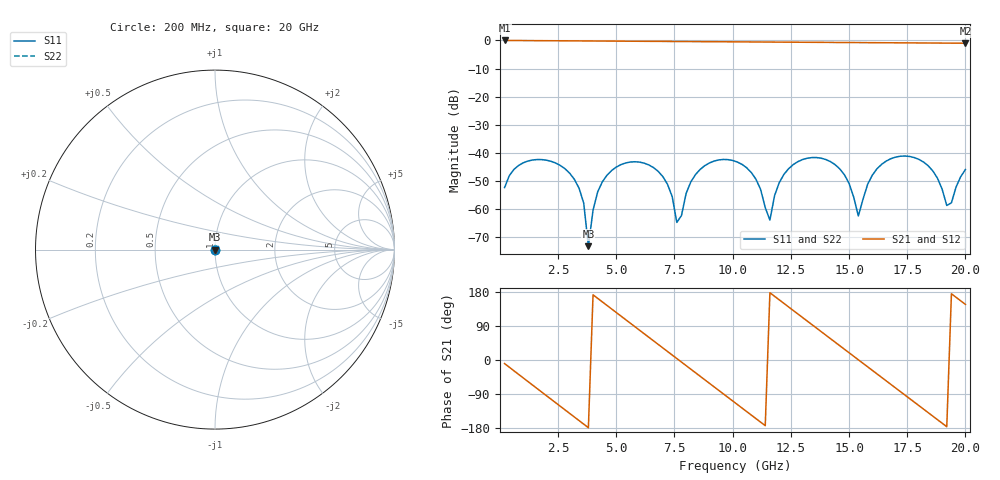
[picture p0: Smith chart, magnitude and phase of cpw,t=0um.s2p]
! Created Wed Jun  1 10:19:41 2022
# hz S ma R 50
! 2 Port Network Data from SP1.SP block
! freq  magS11  angS11  magS21  angS21  magS12  angS12  magS22  angS22
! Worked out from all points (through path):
!   100 points, 200 MHz to 20 GHz, reference 50 ohm
!   highest |S21| = -0.01 dB at 200 MHz (marker M1); lowest = -1.0 dB at 20 GHz (marker M2)
!   group delay of S21, straight-line fit = 130 ps
!   lowest |S11| = -73.1 dB at 3.8 GHz (marker M3), VSWR 1.00, Z = 50 + j0.0155 ohm
!   |S11| at or under -10 dB: start of sweep to end of sweep
!   |S22| runs from -73.1 to -41.1 dB; largest |S21 - S12| = 0
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2e8  0.002431 -127.5  0.9989 -9.5  0.9989 -9.5  0.002431 -127.5
1.8e9  0.007625 121.3  0.9898 -84.9  0.9898 -84.9  0.007625 121.3
3.6e9  0.001281 19.7  0.9796 -169.3  0.9796 -169.3  0.001281 19.7
3.8e9  0.0002207 44.5  0.9785 -178.6  0.9785 -178.6  0.0002207 44.5
4.2e9  0.002041 155.4  0.9762 162.7  0.9762 162.7  0.002041 155.4
4.6e9  0.004031 135.7  0.974 143.9  0.974 143.9  0.004031 135.7
5.8e9  0.006982 73.6  0.9673 87.9  0.9673 87.9  0.006982 73.6
6.8e9  0.004714 24.1  0.9618 41.2  0.9618 41.2  0.004714 24.1
7.6e9  0.000583 13.6  0.9574 3.8  0.9574 3.8  0.000583 13.6
8.6e9  0.005093 107.3  0.952 -42.8  0.952 -42.8  0.005093 107.3
1.02e10  0.00691 32.7  0.9433 -117.4  0.9433 -117.4  0.00691 32.7
1.1e10  0.003422 -0.7  0.939 -154.6  0.939 -154.6  0.003422 -0.7
1.16e10  0.0006418 86.7  0.9358 177.4  0.9358 177.4  0.0006418 86.7
1.22e10  0.00415 106.6  0.9326 149.5  0.9326 149.5  0.00415 106.6
1.34e10  0.008287 55.0  0.9262 93.6  0.9262 93.6  0.008287 55.0
1.46e10  0.005227 3.7  0.9199 37.8  0.9199 37.8  0.005227 3.7
1.54e10  0.0007593 42.4  0.9157 0.6  0.9157 0.6  0.0007593 42.4
1.6e10  0.004035 100.6  0.9126 -27.3  0.9126 -27.3  0.004035 100.6
1.68e10  0.007918 69.8  0.9085 -64.5  0.9085 -64.5  0.007918 69.8
1.84e10  0.005931 3.1  0.9002 -138.9  0.9002 -138.9  0.005931 3.1
1.92e10  0.001167 15.8  0.8962 -176.0  0.8962 -176.0  0.001167 15.8
2e10  0.005065 90.6  0.8921 146.8  0.8921 146.8  0.005065 90.6
